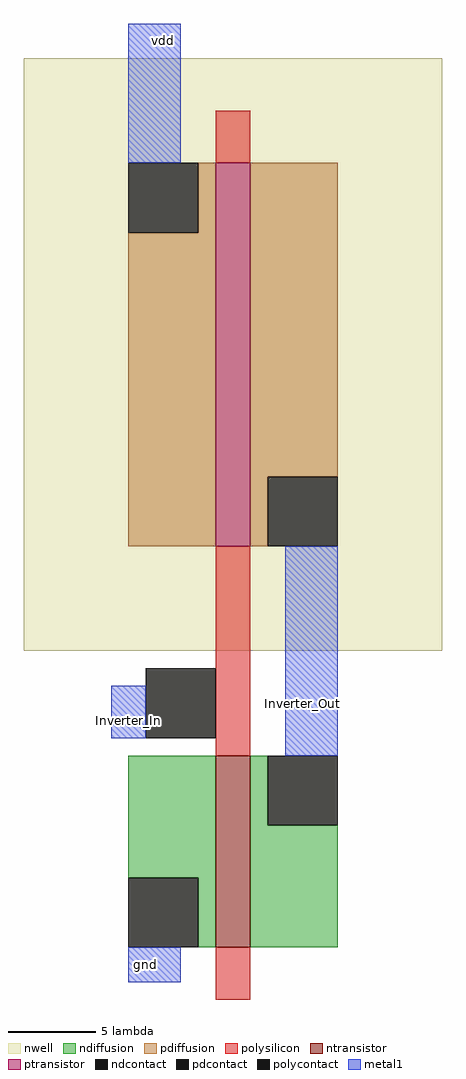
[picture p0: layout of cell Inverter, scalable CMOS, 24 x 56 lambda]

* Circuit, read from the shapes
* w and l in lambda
.subckt Inverter Inverter_In Inverter_Out gnd vdd
M1 Inverter_Out Inverter_In gnd VSUBS nfet w=11 l=2
M2 Inverter_Out Inverter_In vdd n1 pfet w=22 l=2
.ends

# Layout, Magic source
magic
tech scmos
<< nwell >>
rect 0 0 24 34
<< ntransistor >>
rect 11 -17 13 -6
<< ptransistor >>
rect 11 6 13 28
<< ndiffusion >>
rect 6 -13 11 -6
rect 10 -17 11 -13
rect 13 -10 14 -6
rect 13 -17 18 -10
<< pdiffusion >>
rect 10 24 11 28
rect 6 6 11 24
rect 13 10 18 28
rect 13 6 14 10
<< ndcontact >>
rect 6 -17 10 -13
rect 14 -10 18 -6
<< pdcontact >>
rect 6 24 10 28
rect 14 6 18 10
<< polysilicon >>
rect 11 28 13 31
rect 11 -6 13 6
rect 11 -20 13 -17
<< polycontact >>
rect 7 -5 11 -1
<< metal1 >>
rect 6 28 9 36
rect 5 -5 7 -2
rect 15 -6 18 6
rect 6 -19 9 -17
<< labels >>
rlabel metal1 16 -3 16 -3 1 Inverter_Out
rlabel metal1 6 -4 6 -4 1 Inverter_In
rlabel metal1 7 -18 7 -18 1 gnd
rlabel metal1 8 35 8 35 5 vdd
<< end >>
